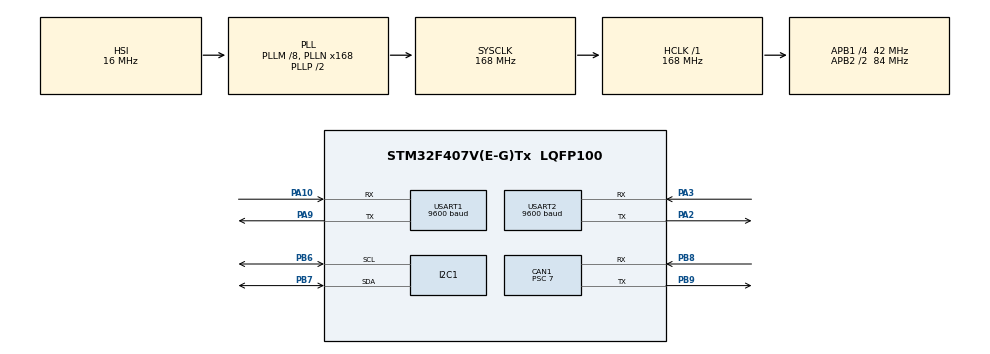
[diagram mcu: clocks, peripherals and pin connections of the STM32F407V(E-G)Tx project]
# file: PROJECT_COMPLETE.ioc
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CAN1.BS1=CAN_BS1_8TQ
CAN1.BS2=CAN_BS2_3TQ
CAN1.CalculateBaudRate=499999
CAN1.CalculateTimeBit=2000
CAN1.CalculateTimeQuantum=166.66666666666669
CAN1.Prescaler=7
FREERTOS.Tasks01=defaultTask,24,128,StartDefaultTask,Default,NULL,Dynamic,NULL,NULL
FREERTOS.configUSE_NEWLIB_REENTRANT=1
Mcu.Family=STM32F4
Mcu.Name=STM32F407V(E-G)Tx
Mcu.Package=LQFP100
NVIC.CAN1_RX0_IRQn=true\:5\:0\:false\:false\:true\:true\:true\:true\:true
NVIC.PriorityGroup=NVIC_PRIORITYGROUP_4
NVIC.TIM6_DAC_IRQn=true\:15\:0\:false\:false\:true\:false\:false\:true\:true
NVIC.TimeBase=TIM6_DAC_IRQn
NVIC.TimeBaseIP=TIM6
NVIC.USART1_IRQn=true\:5\:0\:false\:false\:true\:true\:true\:true\:true
NVIC.USART2_IRQn=true\:5\:0\:false\:false\:true\:true\:true\:true\:true
PA10.Mode=Asynchronous
PA10.Signal=USART1_RX
PA13.Mode=Serial_Wire
PA13.Signal=SYS_JTMS-SWDIO
PA14.Mode=Serial_Wire
PA14.Signal=SYS_JTCK-SWCLK
PA2.Mode=Asynchronous
PA2.Signal=USART2_TX
PA3.Mode=Asynchronous
PA3.Signal=USART2_RX
PA9.Mode=Asynchronous
PA9.Signal=USART1_TX
PB6.Mode=I2C
PB6.Signal=I2C1_SCL
PB7.Mode=I2C
PB7.Signal=I2C1_SDA
PB8.Mode=CAN_Activate
PB8.Signal=CAN1_RX
PB9.Mode=CAN_Activate
PB9.Signal=CAN1_TX
ProjectManager.HeapSize=0x200
ProjectManager.StackSize=0x400
ProjectManager.TargetToolchain=STM32CubeIDE
RCC.48MHZClocksFreq_Value=48000000
RCC.AHBFreq_Value=168000000
RCC.APB1CLKDivider=RCC_HCLK_DIV4
RCC.APB1Freq_Value=42000000
RCC.APB1TimFreq_Value=84000000
RCC.APB2CLKDivider=RCC_HCLK_DIV2
RCC.APB2Freq_Value=84000000
RCC.APB2TimFreq_Value=168000000
RCC.CortexFreq_Value=168000000
RCC.HCLKFreq_Value=168000000
RCC.HSE_VALUE=8000000
RCC.HSI_VALUE=16000000
RCC.PLLM=8
RCC.PLLN=168
RCC.PLLQ=7
RCC.SYSCLKFreq_VALUE=168000000
RCC.SYSCLKSource=RCC_SYSCLKSOURCE_PLLCLK
RCC.VCOOutputFreq_Value=336000000
USART1.BaudRate=9600
USART1.VirtualMode=VM_ASYNC
USART2.BaudRate=9600
USART2.VirtualMode=VM_ASYNC
VP_FREERTOS_VS_CMSIS_V2.Mode=CMSIS_V2
VP_SYS_VS_tim6.Mode=TIM6
board=STM32F407G-DISC1

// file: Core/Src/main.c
/* USER CODE BEGIN Header */
/**
  ******************************************************************************
  * @file           : main.c
  * @brief          : Main program body
  ******************************************************************************
  * @attention
  *
  * Copyright (c) 2026 STMicroelectronics.
  * All rights reserved.
  *
  * This software is licensed under terms that can be found in the LICENSE file
  * in the root directory of this software component.
  * If no LICENSE file comes with this software, it is provided AS-IS.
  *
  ******************************************************************************
  */
/* USER CODE END Header */
#include "main.h"
#include "cmsis_os.h"

/* USER CODE BEGIN Includes */
#include "can.h"
#include<stdlib.h>
#include "gps.h"
#include "gsm.h"
#include <stdlib.h>
#include <string.h>
#include <stdio.h>
/* USER CODE END Includes */

CAN_HandleTypeDef hcan1;

I2C_HandleTypeDef hi2c1;
CAN_TxHeaderTypeDef TxHeader;
uint32_t TxMailbox;

uint8_t TxData[8];
uint8_t Rec_Data[6];
volatile uint8_t accident_event = 0;
int16_t Ax, Ay, Az;
uint8_t accident;
uint8_t sms_sent = 0;
UART_HandleTypeDef huart1;
UART_HandleTypeDef huart2;

char gps_buffer[100];
uint8_t gps_rx;

char phone[] = "+919970704329";

/* Definitions for defaultTask */
osThreadId_t defaultTaskHandle;
const osThreadAttr_t defaultTask_attributes = {
  .name = "defaultTask",
  .stack_size = 128 * 4,
  .priority = (osPriority_t) osPriorityNormal,
};

void SystemClock_Config(void);
static void MX_GPIO_Init(void);
static void MX_CAN1_Init(void);
static void MX_I2C1_Init(void);
static void MX_USART1_UART_Init(void);
static void MX_USART2_UART_Init(void);
void StartDefaultTask(void *argument);

/* USER CODE BEGIN PFP */
void MPU_Task(void *argument);
void CAN_Task(void *argument);
void GPS_Task(void *argument);
void GSM_Task(void *argument);
/* USER CODE END PFP */

int main(void)
{

  /* MCU Configuration--------------------------------------------------------*/

  /* Reset of all peripherals, Initializes the Flash interface and the Systick. */
  HAL_Init();

  /* Configure the system clock */
  SystemClock_Config();

  /* Initialize all configured peripherals */
  MX_GPIO_Init();
  MX_CAN1_Init();
  MX_I2C1_Init();
  MX_USART1_UART_Init();
  MX_USART2_UART_Init();
  /* USER CODE BEGIN 2 */
  CAN_FilterTypeDef sFilterConfig;

   sFilterConfig.FilterBank = 0;
   sFilterConfig.FilterMode = CAN_FILTERMODE_IDMASK;
   sFilterConfig.FilterScale = CAN_FILTERSCALE_32BIT;
   sFilterConfig.FilterIdHigh = 0;
   sFilterConfig.FilterIdLow = 0;
   sFilterConfig.FilterMaskIdHigh = 0;
   sFilterConfig.FilterMaskIdLow = 0;
   sFilterConfig.FilterFIFOAssignment = CAN_RX_FIFO0;
   sFilterConfig.FilterActivation = ENABLE;

   HAL_CAN_ConfigFilter(&hcan1,&sFilterConfig);

   if(HAL_CAN_Start(&hcan1) != HAL_OK)
   {
       Error_Handler();
   }
   HAL_CAN_ActivateNotification(&hcan1,
                                CAN_IT_RX_FIFO0_MSG_PENDING);

   TxHeader.StdId = 0x100;
   TxHeader.IDE = CAN_ID_STD;
   TxHeader.RTR = CAN_RTR_DATA;
   TxHeader.DLC = 1;

   uint8_t data = 0;

   HAL_I2C_Mem_Write(&hi2c1,0x68<<1, 0x6B, I2C_MEMADD_SIZE_8BIT,&data,1, 100);

  /* USER CODE END 2 */

  /* Init scheduler */
  osKernelInitialize();
  const osThreadAttr_t mpuTask_attributes = {
    .name = "MPU_Task",
    .stack_size = 512,
    .priority = (osPriority_t) osPriorityNormal,
  };

  const osThreadAttr_t canTask_attributes = {
    .name = "CAN_Task",
    .stack_size = 512,
    .priority = (osPriority_t) osPriorityNormal,
  };

  const osThreadAttr_t gpsTask_attributes = {
    .name = "GPS_Task",
    .stack_size = 512,
    .priority = (osPriority_t) osPriorityBelowNormal,
  };

  const osThreadAttr_t gsmTask_attributes = {
    .name = "GSM_Task",
    .stack_size = 512,
    .priority = (osPriority_t) osPriorityBelowNormal,
  };

  /* Create the thread(s) */
  /* creation of defaultTask */
  osThreadNew(MPU_Task, NULL, &mpuTask_attributes);
  osThreadNew(CAN_Task, NULL, &canTask_attributes);
  osThreadNew(GPS_Task, NULL, &gpsTask_attributes);
  osThreadNew(GSM_Task, NULL, &gsmTask_attributes);

  /* Start scheduler */
  osKernelStart();

  /* We should never get here as control is now taken by the scheduler */

  /* Infinite loop */
  while (1)
  {

	   }
}

void SystemClock_Config(void)
{
  RCC_OscInitTypeDef RCC_OscInitStruct = {0};
  RCC_ClkInitTypeDef RCC_ClkInitStruct = {0};

  /** Configure the main internal regulator output voltage
  */
  __HAL_RCC_PWR_CLK_ENABLE();
  __HAL_PWR_VOLTAGESCALING_CONFIG(PWR_REGULATOR_VOLTAGE_SCALE1);

  /** Initializes the RCC Oscillators according to the specified parameters
  * in the RCC_OscInitTypeDef structure.
  */
  RCC_OscInitStruct.OscillatorType = RCC_OSCILLATORTYPE_HSI;
  RCC_OscInitStruct.HSIState = RCC_HSI_ON;
  RCC_OscInitStruct.HSICalibrationValue = RCC_HSICALIBRATION_DEFAULT;
  RCC_OscInitStruct.PLL.PLLState = RCC_PLL_ON;
  RCC_OscInitStruct.PLL.PLLSource = RCC_PLLSOURCE_HSI;
  RCC_OscInitStruct.PLL.PLLM = 8;
  RCC_OscInitStruct.PLL.PLLN = 168;
  RCC_OscInitStruct.PLL.PLLP = RCC_PLLP_DIV2;
  RCC_OscInitStruct.PLL.PLLQ = 7;
  if (HAL_RCC_OscConfig(&RCC_OscInitStruct) != HAL_OK)
  {
    Error_Handler();
  }

  /** Initializes the CPU, AHB and APB buses clocks
  */
  RCC_ClkInitStruct.ClockType = RCC_CLOCKTYPE_HCLK|RCC_CLOCKTYPE_SYSCLK
                              |RCC_CLOCKTYPE_PCLK1|RCC_CLOCKTYPE_PCLK2;
  RCC_ClkInitStruct.SYSCLKSource = RCC_SYSCLKSOURCE_PLLCLK;
  RCC_ClkInitStruct.AHBCLKDivider = RCC_SYSCLK_DIV1;
  RCC_ClkInitStruct.APB1CLKDivider = RCC_HCLK_DIV4;
  RCC_ClkInitStruct.APB2CLKDivider = RCC_HCLK_DIV2;

  if (HAL_RCC_ClockConfig(&RCC_ClkInitStruct, FLASH_LATENCY_5) != HAL_OK)
  {
    Error_Handler();
  }
}

static void MX_CAN1_Init(void)
{

  hcan1.Instance = CAN1;
  hcan1.Init.Prescaler = 7;
  hcan1.Init.Mode = CAN_MODE_NORMAL;
  hcan1.Init.SyncJumpWidth = CAN_SJW_1TQ;
  hcan1.Init.TimeSeg1 = CAN_BS1_8TQ;
  hcan1.Init.TimeSeg2 = CAN_BS2_3TQ;
  hcan1.Init.TimeTriggeredMode = DISABLE;
  hcan1.Init.AutoBusOff = DISABLE;
  hcan1.Init.AutoWakeUp = DISABLE;
  hcan1.Init.AutoRetransmission = DISABLE;
  hcan1.Init.ReceiveFifoLocked = DISABLE;
  hcan1.Init.TransmitFifoPriority = DISABLE;
  if (HAL_CAN_Init(&hcan1) != HAL_OK)
  {
    Error_Handler();
  }

}

static void MX_I2C1_Init(void)
{

  hi2c1.Instance = I2C1;
  hi2c1.Init.ClockSpeed = 100000;
  hi2c1.Init.DutyCycle = I2C_DUTYCYCLE_2;
  hi2c1.Init.OwnAddress1 = 0;
  hi2c1.Init.AddressingMode = I2C_ADDRESSINGMODE_7BIT;
  hi2c1.Init.DualAddressMode = I2C_DUALADDRESS_DISABLE;
  hi2c1.Init.OwnAddress2 = 0;
  hi2c1.Init.GeneralCallMode = I2C_GENERALCALL_DISABLE;
  hi2c1.Init.NoStretchMode = I2C_NOSTRETCH_DISABLE;
  if (HAL_I2C_Init(&hi2c1) != HAL_OK)
  {
    Error_Handler();
  }

}

static void MX_USART1_UART_Init(void)
{

  huart1.Instance = USART1;
  huart1.Init.BaudRate = 9600;
  huart1.Init.WordLength = UART_WORDLENGTH_8B;
  huart1.Init.StopBits = UART_STOPBITS_1;
  huart1.Init.Parity = UART_PARITY_NONE;
  huart1.Init.Mode = UART_MODE_TX_RX;
  huart1.Init.HwFlowCtl = UART_HWCONTROL_NONE;
  huart1.Init.OverSampling = UART_OVERSAMPLING_16;
  if (HAL_UART_Init(&huart1) != HAL_OK)
  {
    Error_Handler();
  }

}

static void MX_USART2_UART_Init(void)
{

  huart2.Instance = USART2;
  huart2.Init.BaudRate = 9600;
  huart2.Init.WordLength = UART_WORDLENGTH_8B;
  huart2.Init.StopBits = UART_STOPBITS_1;
  huart2.Init.Parity = UART_PARITY_NONE;
  huart2.Init.Mode = UART_MODE_TX_RX;
  huart2.Init.HwFlowCtl = UART_HWCONTROL_NONE;
  huart2.Init.OverSampling = UART_OVERSAMPLING_16;
  if (HAL_UART_Init(&huart2) != HAL_OK)
  {
    Error_Handler();
  }

}

static void MX_GPIO_Init(void)
{

  /* GPIO Ports Clock Enable */
  __HAL_RCC_GPIOA_CLK_ENABLE();
  __HAL_RCC_GPIOB_CLK_ENABLE();

}

/* USER CODE BEGIN 4 */
void MPU_Task(void *argument)
{
    uint8_t data = 0;

    // Wake up MPU6050
    HAL_I2C_Mem_Write(&hi2c1,
                      0x68 << 1,
                      0x6B,
                      I2C_MEMADD_SIZE_8BIT,
                      &data,
                      1,
                      100);

    while (1)
    {
        // Read accelerometer registers
        HAL_I2C_Mem_Read(&hi2c1,
                         0x68 << 1,
                         0x3B,
                         I2C_MEMADD_SIZE_8BIT,
                         Rec_Data,
                         6,
                         100);

        // Convert raw data
        Ax = (int16_t)((Rec_Data[0] << 8) | Rec_Data[1]);
        Ay = (int16_t)((Rec_Data[2] << 8) | Rec_Data[3]);
        Az = (int16_t)((Rec_Data[4] << 8) | Rec_Data[5]);

        // Accident detection
        if ((abs(Ax) > 4000) || (abs(Ay) > 4000))
        {
            accident = 1;
        }
        else
        {
            accident = 0;
        }

        osDelay(100);
    }
}
void CAN_Task(void *argument)
{
    TxHeader.IDE = CAN_ID_STD;
    TxHeader.RTR = CAN_RTR_DATA;

    while(1)
    {
        // Accident status
        TxHeader.StdId = 0x100;
        TxHeader.DLC = 1;

        TxData[0] = accident;

        if(HAL_CAN_GetTxMailboxesFreeLevel(&hcan1) > 0)
        {
            HAL_CAN_AddTxMessage(&hcan1,
                                 &TxHeader,
                                 TxData,
                                 &TxMailbox);
        }

        osDelay(500);

        // If accident occurred, send GPS information
        if(accident_event)
        {
            // Latitude
            TxHeader.StdId = 0x101;

            TxHeader.DLC = strlen(latitude);

            if(TxHeader.DLC > 8)
                TxHeader.DLC = 8;

            memcpy(TxData, latitude, TxHeader.DLC);

            if(HAL_CAN_GetTxMailboxesFreeLevel(&hcan1) > 0)
            {
                HAL_CAN_AddTxMessage(&hcan1,
                                     &TxHeader,
                                     TxData,
                                     &TxMailbox);
            }

            osDelay(20);

            // Longitude
            TxHeader.StdId = 0x102;

            TxHeader.DLC = strlen(longitude);

            if(TxHeader.DLC > 8)
                TxHeader.DLC = 8;

            memcpy(TxData, longitude, TxHeader.DLC);

            if(HAL_CAN_GetTxMailboxesFreeLevel(&hcan1) > 0)
            {
                HAL_CAN_AddTxMessage(&hcan1,
                                     &TxHeader,
                                     TxData,
                                     &TxMailbox);
            }

            accident_event = 0;
        }

        osDelay(500);
    }
}
void GPS_Task(void *argument)
{
    while(1)
    {
        GPS_Read();

        osDelay(500);
    }
}
void GSM_Task(void *argument)
{
    while(1)
    {
        if(accident && sms_sent == 0)
        {
            GSM_SendSMS(phone, "Accident Detected!");

            sms_sent = 1;
        }

        if(!accident)
        {
            sms_sent = 0;
        }

        osDelay(500);
    }
}
/* USER CODE END 4 */

void StartDefaultTask(void *argument)
{
  /* USER CODE BEGIN 5 */

    for (;;)
    {
        // Your code here

        osDelay(100);
    }
  /* USER CODE END 5 */

}

void HAL_TIM_PeriodElapsedCallback(TIM_HandleTypeDef *htim)
{
  if (htim->Instance == TIM6)
  {
    HAL_IncTick();
  }
}

void Error_Handler(void)
{
  __disable_irq();
  while (1)
  {
  }
}
